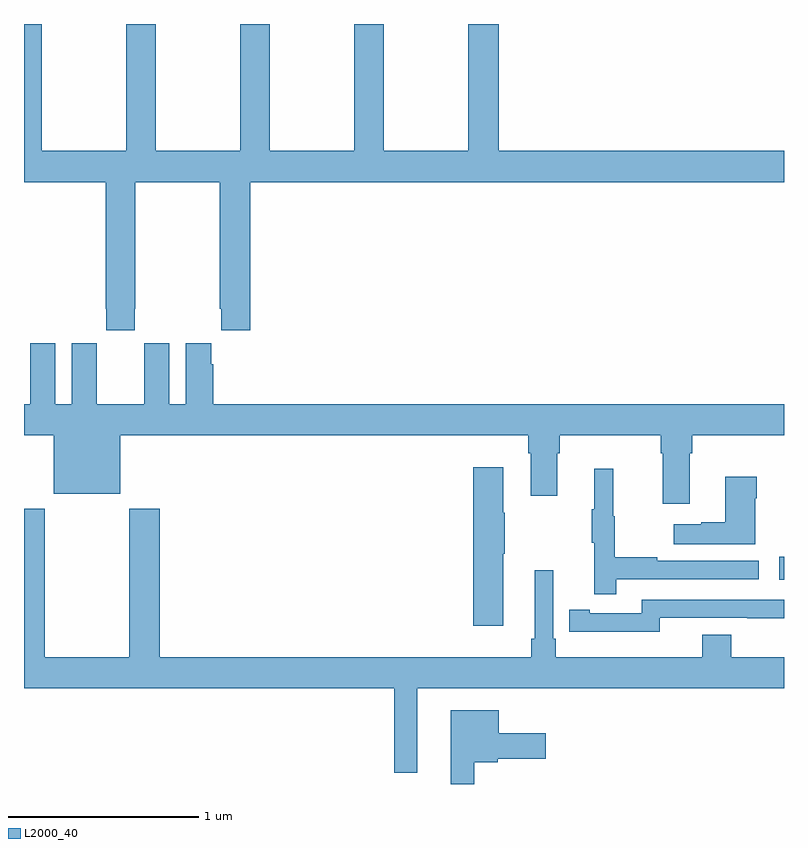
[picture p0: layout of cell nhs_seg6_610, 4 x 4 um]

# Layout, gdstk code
import gdstk
lib = gdstk.Library(unit=1e-6, precision=1e-09)
def R(c, l, rs):  # rectangles x0, y0, x1, y1
    for r in rs: c.add(gdstk.rectangle(r[:2], r[2:], *l))
def P(c, l, *ps):  # polygons
    for p in ps: c.add(gdstk.Polygon(p, *l))
L2000_40 = (2000, 40)

nhs_seg6_610 = lib.new_cell('nhs_seg6_610')
R(nhs_seg6_610, L2000_40, [(152.976,946.575,153,946.695)])
P(nhs_seg6_610, L2000_40, [(153,948.832),(151.499,948.832),(151.499,949.5),(151.343,949.5),(151.343,949.499),(151.339,949.499),(151.339,948.832),(150.894,948.832),(150.894,949.5),(150.739,949.5),(150.739,948.832),(150.294,948.832),(150.294,949.5),(150.139,949.5),(150.139,948.832),(149.694,948.832),(149.694,949.5),(149.539,949.5),(149.539,948.832),(149.094,948.832),(149.094,949.499),(149.089,949.499),(149.089,949.5),(149,949.5),(149,948.668),(149.431,948.668),(149.431,948.001),(149.433,948.001),(149.433,947.889),(149.583,947.889),(149.583,948.001),(149.586,948.001),(149.586,948.668),(150.031,948.668),(150.031,948.001),(150.037,948.001),(150.037,947.889),(150.191,947.889),(150.191,948.668),(153,948.668)],
  [(152.503,947.24),(152.516,947.24),(152.516,947.336),(153,947.336),(153,947.5),(149.996,947.5),(149.996,947.708),(149.986,947.708),(149.986,947.821),(149.852,947.821),(149.852,947.5),(149.764,947.5),(149.764,947.821),(149.634,947.821),(149.634,947.708),(149.633,947.708),(149.633,947.5),(149.383,947.5),(149.383,947.708),(149.382,947.708),(149.382,947.821),(149.252,947.821),(149.252,947.5),(149.164,947.5),(149.164,947.821),(149.034,947.821),(149.034,947.708),(149.033,947.708),(149.033,947.5),(149,947.5),(149,947.336),(149.156,947.336),(149.156,947.027),(149.506,947.027),(149.506,947.336),(151.655,947.336),(151.655,947.24),(151.667,947.24),(151.667,947.016),(151.807,947.016),(151.807,947.24),(151.82,947.24),(151.82,947.336),(152.351,947.336),(152.351,947.24),(152.363,947.24),(152.363,946.974),(152.503,946.974)],
  [(151.522,946.711),(151.53,946.711),(151.53,946.928),(151.522,946.928),(151.522,947.167),(151.364,947.167),(151.364,946.332),(151.522,946.332)],
  [(152.117,946.578),(152.866,946.578),(152.866,946.674),(152.333,946.674),(152.333,946.694),(152.11,946.694),(152.11,946.908),(152.102,946.908),(152.102,947.158),(152,947.158),(152,946.945),(151.989,946.945),(151.989,946.771),(152,946.771),(152,946.5),(152.117,946.5)],
  [(152.848,947.003),(152.856,947.003),(152.856,947.116),(152.69,947.116),(152.69,946.877),(152.564,946.877),(152.564,946.867),(152.421,946.867),(152.421,946.763),(152.848,946.763)],
  [(151.069,946.004),(153,946.004),(153,946.168),(152.723,946.168),(152.723,946.285),(152.57,946.285),(152.57,946.168),(151.799,946.168),(151.799,946.264),(151.785,946.264),(151.785,946.624),(151.688,946.624),(151.688,946.264),(151.669,946.264),(151.669,946.168),(149.714,946.168),(149.714,946.948),(149.554,946.948),(149.554,946.168),(149.109,946.168),(149.109,946.948),(149,946.948),(149,946.004),(150.948,946.004),(150.948,945.56),(151.069,945.56)],
  [(152.346,946.374),(152.806,946.374),(152.806,946.373),(153,946.373),(153,946.47),(152.25,946.47),(152.25,946.398),(151.978,946.398),(151.978,946.418),(151.87,946.418),(151.87,946.302),(151.978,946.302),(151.978,946.301),(152.346,946.301)],
  [(151.369,945.614),(151.494,945.614),(151.494,945.632),(151.747,945.632),(151.747,945.766),(151.498,945.766),(151.498,945.889),(151.247,945.889),(151.247,945.5),(151.369,945.5)])

lib.write_gds('nhs_seg6_610.gds')
